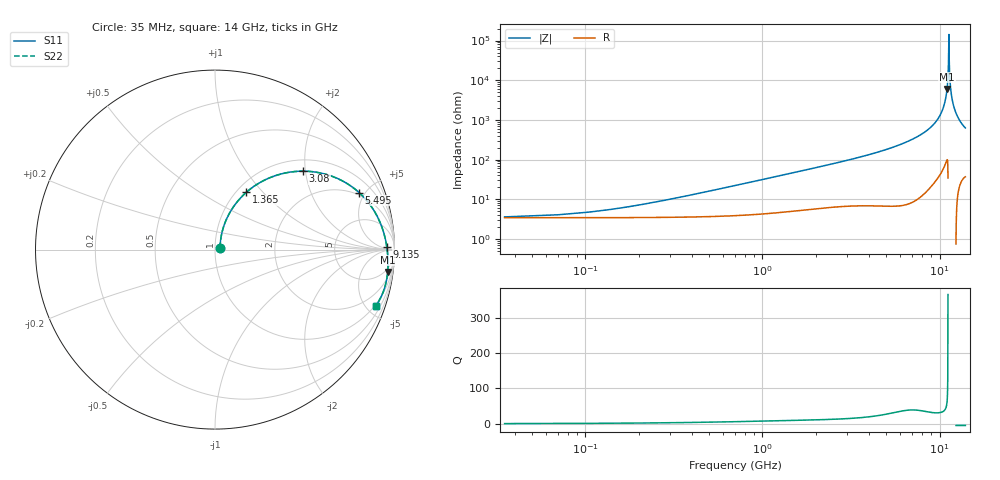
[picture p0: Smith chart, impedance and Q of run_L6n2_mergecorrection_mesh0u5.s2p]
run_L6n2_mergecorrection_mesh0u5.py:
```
########################################################################
#
# Copyright 2025 Volker Muehlhaus and IHP PDK Authors
#
# Licensed under the GNU General Public License, Version 3.0 (the "License");
# you may not use this file except in compliance with the License.
# You may obtain a copy of the License at
#
#    https://www.gnu.org/licenses/gpl-3.0
#
# Unless required by applicable law or agreed to in writing, software
# distributed under the License is distributed on an "AS IS" BASIS,
# WITHOUT WARRANTIES OR CONDITIONS OF ANY KIND, either express or implied.
# See the License for the specific language governing permissions and
# limitations under the License.
#
########################################################################

import os

from gds2openEMS import *

from openEMS import openEMS
import numpy as np


# Model comments
#
# This is a generic model running port excitation for all ports defined below,
# to get full [S] matrix data.
# Output is stored to Touchstone S-parameter file.
# No data plots are created by this script.
#
# This model uses the settings{} dictionary syntax and the gds2openEMS PyPI package
# (pip install gds2openEMS) instead of a local copy of the modules folder - see the
# README for the loose-variable / local-modules-copy alternative, still fully supported.


# ======================== workflow settings ================================

settings = {}

settings['preview_only'] = False  # preview model/mesh only?
settings['no_gui'] = False # if set to True, there is no mesh/model preview in AppCSXCAD, and simulation starts immediately.

settings['numthreads'] = 0 # run on xx cores, changes to 0 for automatic detection by openEMS


# ===================== input files and path settings =======================

gds_filename = "L6n2_with_ports.gds"   # geometries
XML_filename = "openEMS_SG13G2_200um.xml"          # stackup

# merge via polygons with distance less than .. microns, set to 0 to disable via merging.
settings['merge_polygon_size'] = 2
settings['fill_factor_correction'] = True

settings['preprocess_gds'] = False # preprocessing is no longer required

# get path for this simulation file
script_path = utilities.get_script_path(__file__)
# use script filename as model basename
model_basename = utilities.get_basename(__file__)
# set and create directory for simulation output
sim_path = utilities.create_sim_path (script_path,model_basename)
print('Simulation data directory: ', sim_path)
# change current path to model script path
os.chdir(os.path.dirname(os.path.abspath(__file__)))

# ======================== simulation settings ================================

settings['unit']   = 1e-6  # geometry is in microns
settings['margin'] = 250    # distance in microns from GDSII geometry boundary to simulation boundary

settings['fstart']  = 0e9
settings['fstop']   = 14e9
settings['numfreq'] = 401

settings['refined_cellsize'] = 0.5 # mesh cell size in conductor region

# choices for boundary:
# 'PEC' : perfect electric conductor (default)
# 'PMC' : perfect magnetic conductor, useful for symmetries
# 'MUR' : simple MUR absorbing boundary conditions
# 'PML_8' : PML absorbing boundary conditions
settings['Boundaries'] = ['PEC', 'PEC', 'PEC', 'PEC', 'PEC', 'PEC']

settings['cells_per_wavelength'] = 20   # how many mesh cells per wavelength, must be 10 or more
settings['energy_limit'] = -40          # end criteria for residual energy (dB)

# port configuration, port geometry is read from GDSII file on the specified layer
simulation_ports = simulation_setup.all_simulation_ports()

# in-plane port is specified with target_layername= and direction x or y
# via port is specified with from_layername= and to_layername= and direction z
simulation_ports.add_port(simulation_setup.simulation_port(portnumber=1, 
                                                           voltage=1, 
                                                           port_Z0=50, 
                                                           source_layernum=201, 
                                                           from_layername='SUBGND', 
                                                           to_layername='TopMetal1', 
                                                           direction='z'))

simulation_ports.add_port(simulation_setup.simulation_port(portnumber=2, 
                                                           voltage=1, 
                                                           port_Z0=50, 
                                                           source_layernum=202, 
                                                           from_layername='SUBGND', 
                                                           to_layername='TopMetal1', 
                                                           direction='z'))

# ======================== simulation ================================

# get technology stackup data
materials_list, dielectrics_list, metals_list = stackup_reader.read_substrate (XML_filename)
# get list of layers from technology
layernumbers = metals_list.getlayernumbers()
# we must also read the layers where we added ports, these are not included in technology layers
layernumbers.extend(simulation_ports.portlayers)

# read geometries from GDSII, only purpose 0
allpolygons = gds_reader.read_gds(gds_filename,
                                  layernumbers,
                                  purposelist=[0],
                                  metals_list=metals_list,
                                  preprocess=settings['preprocess_gds'],
                                  merge_polygon_size=settings['merge_polygon_size'])

# maximum cellsize is calculated inside setupSimulation when using settings dictionary

# define excitation and stop criteria and boundaries
FDTD = openEMS(EndCriteria=np.exp(settings['energy_limit']/10 * np.log(10)))
FDTD.SetGaussExcite( (settings['fstart']+settings['fstop'])/2, (settings['fstop']-settings['fstart'])/2 )
FDTD.SetBoundaryCond( settings['Boundaries'] )

settings['simulation_ports'] = simulation_ports
settings['materials_list'] = materials_list
settings['dielectrics_list'] = dielectrics_list
settings['metals_list'] = metals_list
settings['layernumbers'] = layernumbers
settings['allpolygons'] = allpolygons
settings['sim_path'] = sim_path
settings['model_basename'] = model_basename


########### create model, run and post-process ###########

# run all active port excitations, one after another. Ports with voltage=0 are skipped here -
# their S-parameters are left out of the result, see the FAQ in the user's guide.

for excite_portnumbers in simulation_ports.all_active_excitations():
    settings['excite_portnumbers'] = excite_portnumbers

    simulation_setup.setupSimulation (FDTD=FDTD, settings=settings)  # must use named parameters when using settings dict!
    simulation_setup.runSimulation   (FDTD=FDTD, settings=settings)  # must use named parameters when using settings dict!


# Initialize an empty matrix for S-parameters
num_ports = simulation_ports.portcount
s_params = np.empty((num_ports, num_ports, settings['numfreq']), dtype=object)

# Define frequency resolution. Due to FFT from Empire time domain results,
# this is postprocessing and we can change it again at any time.
f = np.linspace(settings['fstart'],settings['fstop'],settings['numfreq'])

# Populate the S-parameter matrix with simulation results
for i in range(1, num_ports + 1):
    for j in range(1, num_ports + 1):
        s_params[i-1, j-1] = utilities.calculate_Sij(i, j, f, sim_path, simulation_ports)

# Write to Touchstone *.snp file
snp_name = os.path.join(sim_path, model_basename + '.s' + str(num_ports) + 'p')
utilities.write_snp(s_params, f, snp_name, z0=simulation_ports.get_reference_impedance())

print('Created S-parameter output file at ', snp_name)
```
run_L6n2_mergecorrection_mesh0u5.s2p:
#  Hz  S  RI  R  50
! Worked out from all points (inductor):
!   400 points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, 35 MHz to 14 GHz, reference 50 ohm
!   read as one part in series: L = 4.97 nH near 350 MHz
!   highest Q = 60.6 at 11.03 GHz (marker M1), where L = 86.8 nH
!   self-resonance near 11.27 GHz
!   S11 on the Smith chart (normalised r, x): 35 MHz: 1.06, +0.02; 1.365 GHz: 1.11, +0.81; 3.08 GHz: 1.26, +1.94; 5.495 GHz: 1.82, +4.56; 9.135 GHz: 40, +15; 14 GHz: 0.90, -5.71
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3.5e7  0.0279 0.00984  0.9614 -0.0107  0.9614 -0.0107  0.028 0.00983
1.365e9  0.174 0.3188  0.8076 -0.3459  0.8076 -0.3459  0.174 0.3187
3.08e9  0.4899 0.4371  0.4827 -0.4829  0.4827 -0.4829  0.4898 0.4369
5.495e9  0.8036 0.3171  0.1662 -0.39  0.1662 -0.39  0.8035 0.3168
7.035e9  0.9033 0.1866  0.0642 -0.2785  0.0642 -0.2785  0.9032 0.1863
9.135e9  0.9574 0.0154  0.00635 -0.1328  0.00635 -0.1328  0.9572 0.015
1.1025e10  0.9622 -0.1251  -0.00178 -0.016  -0.00178 -0.016  0.9619 -0.1256
1.1305e10  0.9599 -0.1453  -9.14e-05 0.000672  -9.12e-05 0.000671  0.9596 -0.1458
1.141e10  0.9588 -0.1529  0.000754 0.00686  0.000754 0.00686  0.9585 -0.1534
1.1795e10  0.9538 -0.1803  0.00488 0.0293  0.00488 0.0293  0.9535 -0.1808
1.4e10  0.8954 -0.3153  0.0565 0.1368  0.0565 0.1368  0.895 -0.3158
